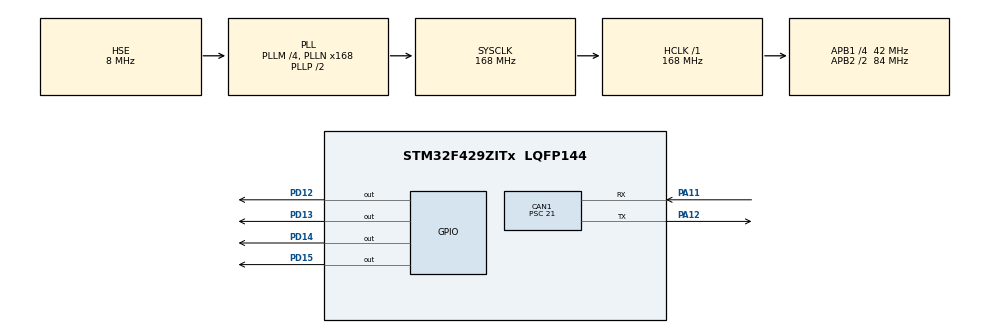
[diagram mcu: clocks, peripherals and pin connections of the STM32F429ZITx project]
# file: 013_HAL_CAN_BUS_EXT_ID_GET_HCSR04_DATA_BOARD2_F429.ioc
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Mcu.Family=STM32F4
RCC.PLLSourceVirtual=RCC_PLLSOURCE_HSE
RCC.CortexFreq_Value=168000000
CAN1.CalculateBaudRate=125000
PA11.Mode=CAN_Activate
RCC.APB1CLKDivider=RCC_HCLK_DIV4
RCC.SYSCLKSource=RCC_SYSCLKSOURCE_PLLCLK
ProjectManager.StackSize=0x400
PA13.Signal=SYS_JTMS-SWDIO
PD13.Signal=GPIO_Output
PA12.Signal=CAN1_TX
CAN1.BS2=CAN_BS2_5TQ
CAN1.BS1=CAN_BS1_10TQ
ProjectManager.TargetToolchain=STM32CubeIDE
PH0/OSC_IN.Mode=HSE-External-Oscillator
RCC.HCLKFreq_Value=168000000
RCC.APB2TimFreq_Value=168000000
PH1/OSC_OUT.Signal=RCC_OSC_OUT
RCC.LSE_VALUE=32768
RCC.AHBFreq_Value=168000000
RCC.HSE_VALUE=8000000
board=custom
RCC.VCOOutputFreq_Value=336000000
PH0/OSC_IN.Signal=RCC_OSC_IN
RCC.APB2Freq_Value=84000000
PA14.Mode=Serial_Wire
PA13.Mode=Serial_Wire
PH1/OSC_OUT.Mode=HSE-External-Oscillator
Mcu.Name=STM32F429ZITx
PD14.Signal=GPIO_Output
RCC.48MHZClocksFreq_Value=84000000
RCC.SYSCLKFreq_VALUE=168000000
CAN1.Prescaler=21
Mcu.Package=LQFP144
PA12.Mode=CAN_Activate
PD12.Signal=GPIO_Output
PA11.Signal=CAN1_RX
PA14.Signal=SYS_JTCK-SWCLK
ProjectManager.HeapSize=0x200
RCC.HSI_VALUE=16000000
NVIC.PriorityGroup=NVIC_PRIORITYGROUP_0
RCC.APB2CLKDivider=RCC_HCLK_DIV2
RCC.PLLM=4
RCC.PLLN=168
RCC.APB1TimFreq_Value=84000000
RCC.APB1Freq_Value=42000000
CAN1.CalculateTimeBit=8000.00
PD15.Signal=GPIO_Output
NVIC.CAN1_RX0_IRQn=true\:0\:1\:false\:false\:true\:true\:true
CAN1.CalculateTimeQuantum=500.0

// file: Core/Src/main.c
/* USER CODE BEGIN Header */
/**
  ******************************************************************************
  * @file           : main.c
  * @brief          : Main program body
  ******************************************************************************
  * @attention
  ***********************************************************************************************
  ***** TEK EXT ID MASK FİLTRE KULLANIMI VE BELİRLİ BİR ARALIKTAKİ IDLERDEN MESAJ ALIMI  ************
  ***********************************************************************************************
  ***********************************************************************************************
  */
/* USER CODE END Header */
#include "main.h"

CAN_HandleTypeDef hcan1;

/* USER CODE BEGIN PV */

CAN_RxHeaderTypeDef pRxHeader; // Alacagımız veriler için
CAN_TxHeaderTypeDef	pTxHeader;
CAN_FilterTypeDef sFilterConfig; // Filtre özellikleri için

uint8_t hcsr_data;
/* USER CODE END PV */

void SystemClock_Config(void);
static void MX_GPIO_Init(void);
static void MX_CAN1_Init(void);

int main(void)
{

  /* MCU Configuration--------------------------------------------------------*/

  /* Reset of all peripherals, Initializes the Flash interface and the Systick. */
  HAL_Init();

  /* Configure the system clock */
  SystemClock_Config();

  /* Initialize all configured peripherals */
  MX_GPIO_Init();
  MX_CAN1_Init();
  /* USER CODE BEGIN 2 */

  /* Eger data göndermek istersek */
  pTxHeader.DLC   = 1;
  pTxHeader.IDE   = CAN_ID_EXT;
  pTxHeader.RTR   = CAN_RTR_DATA;
  pTxHeader.ExtId = 0x00000002;

   // Set Filter Parameters
   sFilterConfig.FilterActivation = ENABLE;      // Enable or disable the filter.
   sFilterConfig.FilterBank = 0 ;                // Specifies the filter bank which will be initialized.
   	  	  	  	  	  	  	  	  	  	  	  	// Filtre numarası en düşük olan en yüksek önceliğe sahiptir.
   sFilterConfig.FilterFIFOAssignment = CAN_FILTER_FIFO0;
   sFilterConfig.FilterIdHigh =0x0AF09876 >> 13; // diger board'ın id'si.
   sFilterConfig.FilterIdLow =  0x0000;;
   sFilterConfig.FilterMaskIdHigh = 0xFFFFFFFF >> 13;
   sFilterConfig.FilterMaskIdLow  =  0x0000;
   sFilterConfig.FilterMode = CAN_FILTERMODE_IDMASK;
   sFilterConfig.FilterScale = CAN_FILTERSCALE_32BIT;

  // filter confg set.
  HAL_CAN_ConfigFilter(&hcan1, &sFilterConfig);

  // Start CAN communication
  HAL_CAN_Start(&hcan1);

  // Enable interrupt
  HAL_CAN_ActivateNotification(&hcan1, CAN_IT_RX_FIFO0_MSG_PENDING); // fifo0'a mesaj gelince aktif olsun interrupt
                                            /* hangi interruptı aktif etmek istiyorsak onun parametresini ekledik
                                             @arg CAN_Interrupts can.h kütüphanesinden parametreleri görebiliriz.  */

  // Alınan veriyi  CAN1_RX0_IRQHandler(void) ile alıcagız. Ayrıntılar -> stm32f4xx_it.c

  /* USER CODE END 2 */

  /* Infinite loop */
  while (1)
  {
	  if(hcsr_data > 8 && hcsr_data < 16 )
	  {
		  HAL_GPIO_WritePin(GPIOD, GPIO_PIN_12, GPIO_PIN_SET);
		  HAL_GPIO_WritePin(GPIOD, GPIO_PIN_13|GPIO_PIN_14|GPIO_PIN_15, GPIO_PIN_RESET);
	  }else if(hcsr_data > 16 && hcsr_data < 24 )
	  {
		  HAL_GPIO_WritePin(GPIOD, GPIO_PIN_12|GPIO_PIN_13, GPIO_PIN_SET);
		  HAL_GPIO_WritePin(GPIOD, GPIO_PIN_14|GPIO_PIN_15, GPIO_PIN_RESET);
	  }else if(hcsr_data > 24 && hcsr_data < 32 )
	  {
		  HAL_GPIO_WritePin(GPIOD, GPIO_PIN_12|GPIO_PIN_13|GPIO_PIN_14, GPIO_PIN_SET);
		  HAL_GPIO_WritePin(GPIOD, GPIO_PIN_15, GPIO_PIN_RESET);
	  }else if(hcsr_data > 32)
	  {
		  HAL_GPIO_WritePin(GPIOD, GPIO_PIN_12|GPIO_PIN_13|GPIO_PIN_14|GPIO_PIN_15, GPIO_PIN_SET);
	  }else // 8 cm den küçük ise
	  {
		  HAL_GPIO_WritePin(GPIOD, GPIO_PIN_12|GPIO_PIN_13|GPIO_PIN_14|GPIO_PIN_15, GPIO_PIN_RESET);
	  }
  }
}

void SystemClock_Config(void)
{
  RCC_OscInitTypeDef RCC_OscInitStruct = {0};
  RCC_ClkInitTypeDef RCC_ClkInitStruct = {0};

  /** Configure the main internal regulator output voltage
  */
  __HAL_RCC_PWR_CLK_ENABLE();
  __HAL_PWR_VOLTAGESCALING_CONFIG(PWR_REGULATOR_VOLTAGE_SCALE1);
  /** Initializes the RCC Oscillators according to the specified parameters
  * in the RCC_OscInitTypeDef structure.
  */
  RCC_OscInitStruct.OscillatorType = RCC_OSCILLATORTYPE_HSE;
  RCC_OscInitStruct.HSEState = RCC_HSE_ON;
  RCC_OscInitStruct.PLL.PLLState = RCC_PLL_ON;
  RCC_OscInitStruct.PLL.PLLSource = RCC_PLLSOURCE_HSE;
  RCC_OscInitStruct.PLL.PLLM = 4;
  RCC_OscInitStruct.PLL.PLLN = 168;
  RCC_OscInitStruct.PLL.PLLP = RCC_PLLP_DIV2;
  RCC_OscInitStruct.PLL.PLLQ = 4;
  if (HAL_RCC_OscConfig(&RCC_OscInitStruct) != HAL_OK)
  {
    Error_Handler();
  }
  /** Initializes the CPU, AHB and APB buses clocks
  */
  RCC_ClkInitStruct.ClockType = RCC_CLOCKTYPE_HCLK|RCC_CLOCKTYPE_SYSCLK
                              |RCC_CLOCKTYPE_PCLK1|RCC_CLOCKTYPE_PCLK2;
  RCC_ClkInitStruct.SYSCLKSource = RCC_SYSCLKSOURCE_PLLCLK;
  RCC_ClkInitStruct.AHBCLKDivider = RCC_SYSCLK_DIV1;
  RCC_ClkInitStruct.APB1CLKDivider = RCC_HCLK_DIV4;
  RCC_ClkInitStruct.APB2CLKDivider = RCC_HCLK_DIV2;

  if (HAL_RCC_ClockConfig(&RCC_ClkInitStruct, FLASH_LATENCY_5) != HAL_OK)
  {
    Error_Handler();
  }
}

static void MX_CAN1_Init(void)
{

  hcan1.Instance = CAN1;
  hcan1.Init.Prescaler = 21;
  hcan1.Init.Mode = CAN_MODE_NORMAL;
  hcan1.Init.SyncJumpWidth = CAN_SJW_1TQ;
  hcan1.Init.TimeSeg1 = CAN_BS1_10TQ;
  hcan1.Init.TimeSeg2 = CAN_BS2_5TQ;
  hcan1.Init.TimeTriggeredMode = DISABLE;
  hcan1.Init.AutoBusOff = DISABLE;
  hcan1.Init.AutoWakeUp = DISABLE;
  hcan1.Init.AutoRetransmission = DISABLE;
  hcan1.Init.ReceiveFifoLocked = DISABLE;
  hcan1.Init.TransmitFifoPriority = DISABLE;
  if (HAL_CAN_Init(&hcan1) != HAL_OK)
  {
    Error_Handler();
  }

}

static void MX_GPIO_Init(void)
{
  GPIO_InitTypeDef GPIO_InitStruct = {0};

  /* GPIO Ports Clock Enable */
  __HAL_RCC_GPIOH_CLK_ENABLE();
  __HAL_RCC_GPIOD_CLK_ENABLE();
  __HAL_RCC_GPIOA_CLK_ENABLE();

  /*Configure GPIO pin Output Level */
  HAL_GPIO_WritePin(GPIOD, GPIO_PIN_12|GPIO_PIN_13|GPIO_PIN_14|GPIO_PIN_15, GPIO_PIN_RESET);

  /*Configure GPIO pins : PD12 PD13 PD14 PD15 */
  GPIO_InitStruct.Pin = GPIO_PIN_12|GPIO_PIN_13|GPIO_PIN_14|GPIO_PIN_15;
  GPIO_InitStruct.Mode = GPIO_MODE_OUTPUT_PP;
  GPIO_InitStruct.Pull = GPIO_NOPULL;
  GPIO_InitStruct.Speed = GPIO_SPEED_FREQ_LOW;
  HAL_GPIO_Init(GPIOD, &GPIO_InitStruct);

}

void Error_Handler(void)
{
  __disable_irq();
  while (1)
  {
  }
}

/************************ (C) COPYRIGHT STMicroelectronics *****END OF FILE****/
